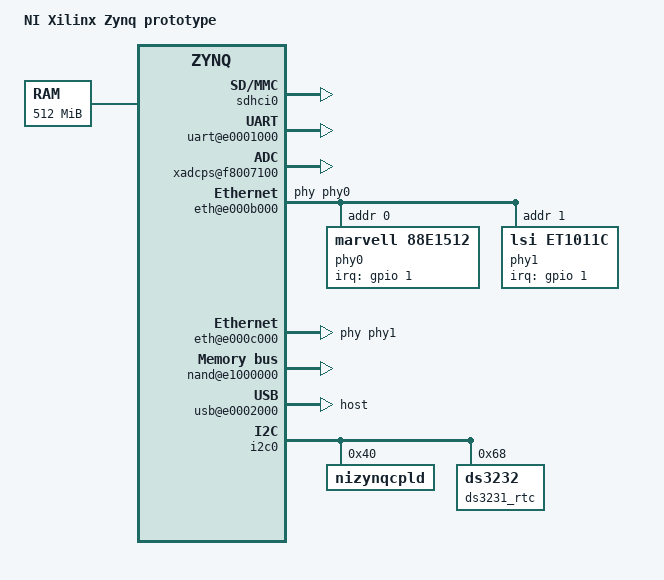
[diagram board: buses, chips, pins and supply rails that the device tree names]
/dts-v1/;

/ {
	model = "NI Xilinx Zynq prototype";
	compatible = "xlnx,zynq-zc770-xm010";
	#address-cells = <0x1>;
	#size-cells = <0x1>;
	interrupt-parent = <&gic>;

	memory {
		device_type = "memory";
		reg = <0x00000000 0x20000000>;
	};
	chosen {
		bootargs = "console=ttyPS0,115200 ramdisk_size=65536 root=/dev/ram rw ip=:::::eth0:dhcp";
		linux,stdout-path = "/amba@0/uart@E0001000";
	};

	amba@0 {
		compatible = "simple-bus";
		#address-cells = <0x1>;
		#size-cells = <0x1>;
		ranges;

		gic: intc@f8f01000 {
			interrupt-controller;
			compatible = "arm,cortex-a9-gic";
			reg = < 0xf8f01000 0x1000 >,
			      < 0xf8f00100 0x0100 >;
			#interrupt-cells = <0x3>;
			linux,phandle = <0x1>;
			phandle = <0x1>;
		};

		sdhci0: sdhci@e0100000 {
			compatible = "xlnx,ps7-sdhci-1.00.a";
			reg = <0xE0100000 0x1000>;
			xlnx,has-cd = <0x1>;
			interrupts = <0 24 0>;
			clock-frequency = <100000000>;
		};

		uart@e0001000 {
			compatible = "xlnx,ps7-uart-1.00.a";
			reg = <0xe0001000 0x1000>;
			interrupts = <0 50 0>;
			clock = <50000000>;
		};

		fpgaperipheral@f8007000 {
			compatible = "fpgaperipheral";
			reg = <0xf8007000 0x100>;
		};

		xadcps@f8007100 {
			compatible = "xlnx,ps7-xadc-1.00.a";
			reg = <0xf8007100 0x20>;
			interrupts = <0 7 0>;
		};

		timer@0xf8001000 {
			clock-frequency-timer0 = <111111000>;
			clock-frequency-timer1 = <111111000>;
			clock-frequency-timer2 = <111111000>;
			compatible = "xlnx,ps7-ttc-1.00.a";
			interrupts = <0 10 0
				      0 11 0
				      0 12 0>;
			reg = < 0xf8001000 0x1000 >;
		};

		eth@e000b000 {
			compatible = "xlnx,ps7-ethernet-1.00.a";
			reg = <0xe000b000 0x1000>;
			interrupts = <0 22 0>;
			phy-handle = <&phy0>;
			xlnx,slcr-div0-1000Mbps = <8>;
			xlnx,slcr-div0-100Mbps = <8>;
			xlnx,slcr-div0-10Mbps = <8>;
			xlnx,slcr-div1-1000Mbps = <1>;
			xlnx,slcr-div1-100Mbps = <5>;
			xlnx,slcr-div1-10Mbps = <50>;
			xlnx,mdc-clk-div = <3>;
			#address-cells = <0x1>;
			#size-cells = <0x0>;

			phy0: phy@0 {
				compatible = "marvell,88e1512";
				device_type = "ethernet-phy";
				reg = <0x0>;
				/* Interrupt on GPIO1, shared with phy1. */
				interrupts = <1 0>;
				interrupt-parent = <&gpio>;
				/* Page 3, Register 16, LED[2:0] Function
				   Control Register */
				leds = <0x1881>;
			};

			phy1: phy@1 {
				compatible = "lsi,et1011c";
				device_type = "ethernet-phy";
				reg = <0x1>;
				/* Interrupt on GPIO1, shared with phy0. */
				interrupts = <1 0>;
				interrupt-parent = <&gpio>;
				/* LED Control 1 values for Off, 10Mb, 100Mb,
				   and 1Gb, followed by LED Control 2 values
				   for Off, 10Mb, 100Mb, and 1Gb, followed by
				   LED Control 3 value. */
				leds = <0x0001 0x0001 0x0001 0x8001 0xFAFE 0xFAFE 0xFAFF 0xFAEF 0x0A55>;
			};
		};

		eth@e000c000 {
			compatible = "xlnx,ps7-ethernet-1.00.a";
			reg = <0xe000c000 0x1000>;
			interrupts = <0 45 0>;
			phy-handle = <&phy1>;
			xlnx,slcr-div0-1000Mbps = <8>;
			xlnx,slcr-div0-100Mbps = <8>;
			xlnx,slcr-div0-10Mbps = <8>;
			xlnx,slcr-div1-1000Mbps = <1>;
			xlnx,slcr-div1-100Mbps = <5>;
			xlnx,slcr-div1-10Mbps = <50>;
			xlnx,no_mdio_bus;
			xlnx,emio-fpga-clk = <1>;
			#address-cells = <0x1>;
			#size-cells = <0x0>;
		};

		nand@e1000000 {
			compatible = "xlnx,ps7-nand-1.00.a";
			reg = <0xE1000000 0x1000000 0xE000E000 0x1000>;
			bank-width = <1>; /* 8-bit width */

			/* SLCR SMC_CLK_CTRL value, 83MHz clock, 12ns cycle time */
			/* <t_rr t_ar t_clr t_wp t_rea t_wc t_rc> in cycles */
			xlnx,onfi-mode0 = <0x0001021 4 3 2 7 4 10 10>;

			/* SLCR SMC_CLK_CTRL value, 166MHz clock, 6ns cycle time */
			/* <t_rr t_ar t_clr t_wp t_rea t_wc t_rc> in cycles */
			xlnx,onfi-mode1 = <0x0000821 4 2 2 7 4 10 10>;
			xlnx,onfi-mode2 = <0x0000821 4 2 2 5 3 8 7>;
			xlnx,onfi-mode3 = <0x0000821 4 2 2 5 2 7 6>;
			xlnx,onfi-mode4 = <0x0000821 4 2 2 4 2 6 5>;
			xlnx,onfi-mode5 = <0x0000821 4 2 2 3 2 5 4>;

			#address-cells = <1>;
			#size-cells = <1>;
		};

		scugtimer@f8f00000 {
			compatible = "xlnx,xscugtimer-1.00.a";
			reg = <0xf8f00200 0x400>;
			clock-frequency = <333333000>;
		};

		usb@e0002000 {
			compatible = "xlnx,ps7-usb-1.00.a";
			reg = <0xe0002000 0x1000>;
			interrupts = <0 21 0>;
			dr_mode = "host";
			phy_type = "ulpi";
		};

		gpio: gpio@e000a000 {
			compatible = "xlnx,ps7-gpio-1.00.a";
			reg = <0xe000a000 0x1000>;
			#interrupt-cells = <0x2>;
			interrupt-controller;
			interrupts = <0 20 0>;
			#gpio-cells = <2>;
			gpio-controller;

			/* You can specify GPIO settings here:
			 *
			 *  gpioN-label      String label.
			 *  gpioN-direction  "input" or "output".
			 *  gpioN-settings   "output" - specifies the GPIO state as "high"
			 *                              or "low".
			 *                   "input"  - specifies GPIO interrupt settings as
			 *                              "none", "level-low", "level-high",
			 *                              "edge-falling", "edge-rising", or
			 *                              "edge-both".
			 */

			/* GPIO1 (MIO1) */
			gpio1-label     = "phy_interupt";
			gpio1-direction = "input";
			gpio1-settings  = "level-low";
		};

		i2c0: i2c@e0004000 {
			compatible = "xlnx,ps7-i2c-1.00.a";
			reg = <0xE0004000 0x1000>;
			interrupts = <0 25 0>;
			bus-id = <0>;
			input-clk = <133000000>;
			i2c-clk = <400000>;
			#address-cells = <1>;
			#size-cells = <0>;

			nizynqcpld@40 {
				compatible = "nizynqcpld";
				reg = <0x40>;
			};

			ds3231_rtc@68 {
				compatible = "ds3232";
				reg = <0x68>;
			};
		};
	};
};
